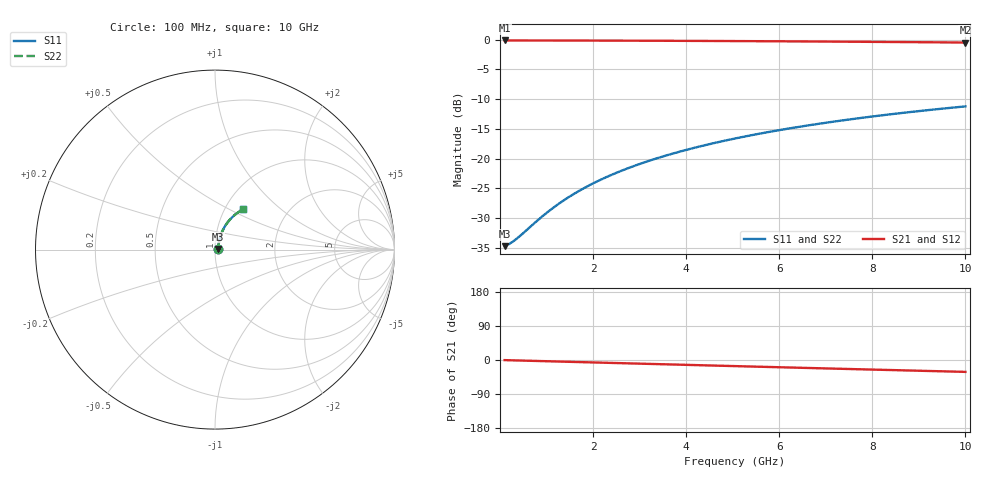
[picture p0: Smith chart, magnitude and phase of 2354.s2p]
# Hz S RI R 50.00
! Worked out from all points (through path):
!   100 points, 100 MHz to 10 GHz, reference 50 ohm
!   highest |S21| = -0.16 dB at 100 MHz (marker M1); lowest = -0.5 dB at 10 GHz (marker M2)
!   group delay of S21, straight-line fit = 8.72 ps
!   lowest |S11| = -34.7 dB at 100 MHz (marker M3), VSWR 1.04, Z = 51.9 + j0.296 ohm
!   |S11| at or under -10 dB: start of sweep to end of sweep
!   |S22| runs from -34.7 to -11.2 dB; largest |S21 - S12| = 0
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1e8  0.0182 0.00286  0.9818 -0.00551  0.9818 -0.00551  0.0182 0.00286
2e8  0.0184 0.00571  0.9816 -0.011  0.9816 -0.011  0.0184 0.00571
3e8  0.0185 0.00857  0.9814 -0.0165  0.9814 -0.0165  0.0185 0.00857
4e8  0.0187 0.0114  0.9812 -0.022  0.9812 -0.022  0.0187 0.0114
9e8  0.02 0.0256  0.9797 -0.0495  0.9797 -0.0495  0.02 0.0256
1.2e9  0.0211 0.0341  0.9784 -0.0659  0.9784 -0.0659  0.0211 0.0341
1.5e9  0.0225 0.0426  0.9767 -0.0823  0.9767 -0.0823  0.0225 0.0426
1.8e9  0.0241 0.0509  0.9747 -0.0987  0.9747 -0.0987  0.0241 0.0509
2.1e9  0.0261 0.0592  0.9723 -0.1149  0.9723 -0.1149  0.0261 0.0592
2.5e9  0.0291 0.0702  0.9687 -0.1365  0.9687 -0.1365  0.0291 0.0702
2.9e9  0.0325 0.081  0.9644 -0.1579  0.9644 -0.1579  0.0325 0.081
3.4e9  0.0375 0.0942  0.9583 -0.1844  0.9583 -0.1844  0.0375 0.0942
3.8e9  0.042 0.1046  0.9528 -0.2054  0.9528 -0.2054  0.042 0.1046
4.2e9  0.047 0.1147  0.9467 -0.2261  0.9467 -0.2261  0.047 0.1147
4.6e9  0.0523 0.1245  0.94 -0.2466  0.94 -0.2466  0.0523 0.1245
5.1e9  0.0596 0.1365  0.931 -0.2718  0.931 -0.2718  0.0596 0.1365
5.9e9  0.0726 0.1545  0.9149 -0.3112  0.9149 -0.3112  0.0726 0.1545
6.7e9  0.0869 0.1713  0.8968 -0.3493  0.8968 -0.3493  0.0869 0.1713
7.5e9  0.1026 0.1867  0.877 -0.3859  0.877 -0.3859  0.1026 0.1867
8.4e9  0.1215 0.2021  0.8528 -0.4254  0.8528 -0.4254  0.1215 0.2021
9.2e9  0.1393 0.2141  0.8298 -0.4587  0.8298 -0.4587  0.1393 0.2141
1e10  0.158 0.2245  0.8055 -0.4905  0.8055 -0.4905  0.158 0.2245
